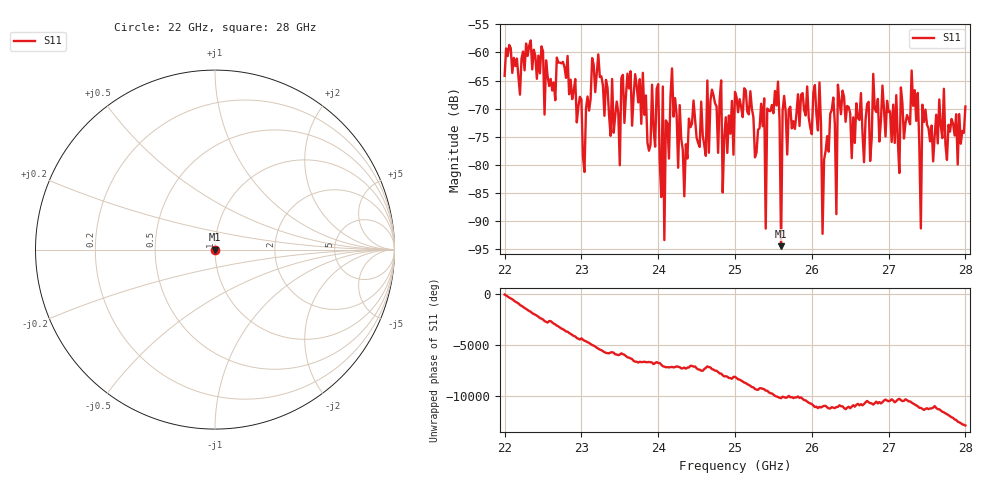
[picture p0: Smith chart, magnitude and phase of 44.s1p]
#  HZ  S  RI  R  50.00
! Rohde & Schwarz ZVA40 4Ports - Version 3.90 - 1145.1110k42 SN: 100403
! Date: 2023-10-04 09:22:36
! Measurement: S12
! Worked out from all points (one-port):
!   301 points, 22 GHz to 28 GHz, reference 50 ohm
!   lowest |S11| = -94.4 dB at 25.6 GHz (marker M1), VSWR 1.00, Z = 50 - j0.00156 ohm
!   |S11| at or under -10 dB: start of sweep to end of sweep
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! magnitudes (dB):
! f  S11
! 22 GHz  -64.2
! 22.76 GHz  -61.7
! 23.04 GHz  -81.2
! 23.14 GHz  -61.0
! 23.4 GHz  -64.7
! 23.5 GHz  -80.1
! 23.52 GHz  -64.6
! 23.64 GHz  -63.3
! 24.14 GHz  -78.9
! 24.18 GHz  -62.8
! 24.26 GHz  -80.5
! 24.46 GHz  -68.6
! 24.62 GHz  -78.4
! 24.64 GHz  -65.0
! 24.66 GHz  -77.8
! 24.82 GHz  -65.0
! 24.84 GHz  -84.9
! 24.98 GHz  -78.2
! 25 GHz  -67.0
! 25.26 GHz  -78.6
! 25.38 GHz  -68.2
! 25.4 GHz  -91.3
! 25.56 GHz  -65.2
! 25.6 GHz  -94.4
! 25.76 GHz  -72.2
! 26.5 GHz  -70.8
! 27.26 GHz  -71.9
! 28 GHz  -69.6
